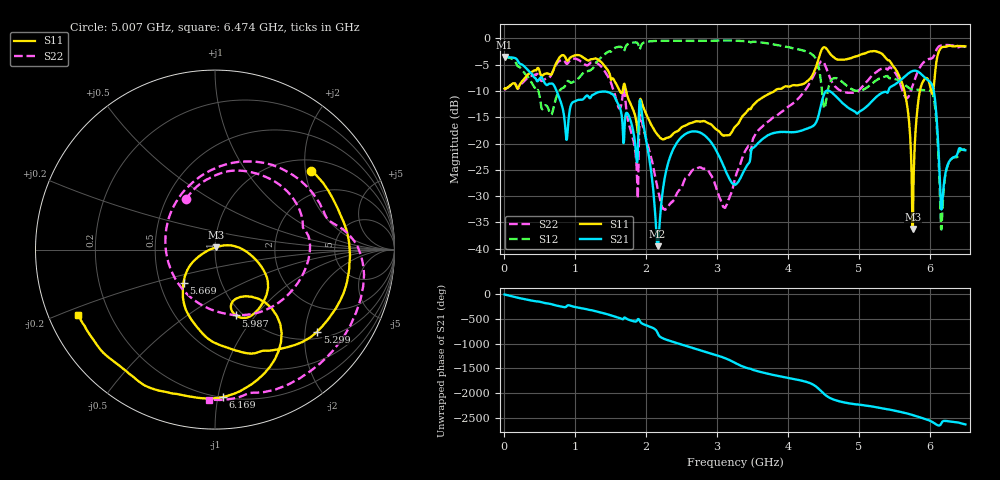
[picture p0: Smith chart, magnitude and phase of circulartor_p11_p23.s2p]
!Keysight Technologies,P9371A,MY57211172,A.13.10.05
!Date: Monday, March 30, 2026 15:48:59
!Correction: S11(Full 2 Port(1,2))
!S21(Full 2 Port(1,2))
!S12(Full 2 Port(1,2))
!S22(Full 2 Port(1,2))
!S2P File: Measurements: S11, S21, S12, S22:
# Hz S  dB  R 50
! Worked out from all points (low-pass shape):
!   1001 points, 10 MHz to 6.5 GHz, reference 50 ohm
!   highest |S21| = -3.52 dB at 10 MHz (marker M1); lowest = -39.5 dB at 2.165 GHz (marker M2)
!   |S21| within 3 dB of the highest: start of sweep to 374.6 MHz; 5.711 GHz to 5.854 GHz (142.6 MHz wide, 2.47 % of centre)
!   lowest |S11| = -36.2 dB at 5.76 GHz (marker M3), VSWR 1.03, Z = 50.7 + j1.41 ohm
!   |S11| at or under -10 dB: 1.631 GHz to 1.672 GHz (40.78 MHz wide, 2.47 % of centre); 1.721 GHz to 3.812 GHz (2.091 GHz wide, 75.6 % of centre); 5.642 GHz to 5.859 GHz (217.5 MHz wide, 3.78 % of centre)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
!   |S22| runs from -32.6 to -1.2 dB; largest |S21 - S12| = 1
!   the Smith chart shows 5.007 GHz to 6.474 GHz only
!   S11 on the Smith chart (normalised r, x): 5.007 GHz: 1.27, +2.15; 5.299 GHz: 1.18, -2.32; 5.669 GHz: 0.66, -0.26; 5.987 GHz: 0.93, -0.80; 6.169 GHz: 0.20, -1.03; 6.474 GHz: 0.09, -0.22
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1e7  -9.55 178.9  -3.52 -3.6  -3.52 -3.6  -9.61 179.1
1.09383e9  -3.41 10.1  -11.66 77.5  -6.94 140.0  -4.49 21.9
1.60654e9  -9.31 -98.1  -12.40 -110.5  -1.63 -7.0  -12.88 -93.0
1.85316e9  -14.96 -132.2  -20.70 167.6  -0.76 -87.2  -21.73 -162.4
2.16468e9  -18.33 -148.3  -39.52 -62.5  -0.48 173.1  -28.57 124.0
2.17766e9  -18.50 -147.4  -38.39 -102.1  -0.47 168.8  -29.34 114.5
2.43077e9  -17.73 -142.5  -19.97 93.4  -0.45 86.2  -29.68 -30.3
2.70335e9  -15.77 -167.0  -17.69 -25.9  -0.47 0.4  -24.89 -91.1
3.255e9  -16.82 167.7  -27.85 49.5  -0.42 -164.2  -26.63 -154.2
3.59248e9  -11.69 129.7  -19.77 -126.6  -0.73 98.9  -17.34 149.4
3.904e9  -9.59 81.1  -17.77 130.6  -1.39 9.8  -14.03 95.2
4.33883e9  -7.16 -0.6  -16.77 -19.4  -3.02 -127.6  -7.73 9.2
4.6179e9  -3.28 -174.0  -10.29 40.1  -7.83 -174.8  -8.25 -134.7
5.0073e9  -3.18 39.3  -13.93 -78.8  -9.94 78.7  -9.76 120.3
5.29935e9  -2.73 -38.7  -10.57 -145.9  -7.56 -6.3  -5.90 47.0
5.42266e9  -4.16 -68.8  -9.66 -175.7  -7.52 -55.7  -5.58 8.5
5.66928e9  -11.88 -133.6  -6.98 105.6  -9.06 -148.4  -11.39 -157.6
5.76014e9  -36.24 64.1  -6.18 68.8  -9.75 -178.3  -8.83 120.9
5.98729e9  -8.30 -72.4  -8.10 -36.9  -9.92 85.5  -3.90 23.7
6.16901e9  -1.69 -87.0  -32.11 -75.5  -34.67 60.6  -1.33 -22.1
6.47404e9  -1.47 -154.6  -21.22 -111.5  -21.16 35.9  -1.55 -92.4
6.5e9  -1.51 -159.4  -21.28 -120.1  -21.07 33.2  -1.61 -98.0
